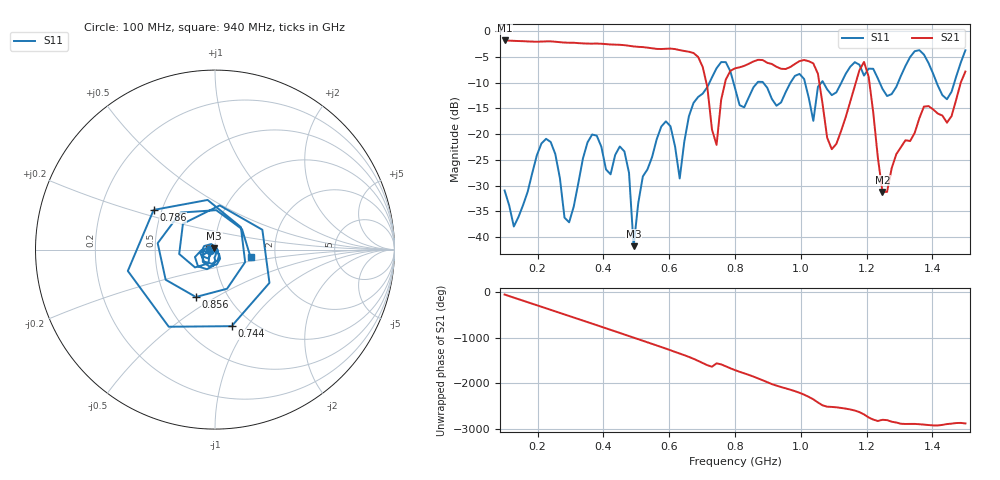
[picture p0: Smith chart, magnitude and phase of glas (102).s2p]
! NanoVNA-App
! Date: 2025-09-25 15:56:16
! Start: 100MHz Stop: 1,5GHz Points: 101
! S-Parameter data: F S11 S21 S12 S22
# Hz S RI R 50
!  Frequency  S11_Real  S11_Imag  S21_Real  S21_Imag  S12_Real  S12_Imag  S22_Real  S22_Imag
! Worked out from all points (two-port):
!   101 points, 100 MHz to 1.5 GHz, reference 50 ohm
!   highest |S21| = -1.80 dB at 100 MHz (marker M1); lowest = -31.3 dB at 1.248 GHz (marker M2)
!   |S21| within 3 dB of the highest: start of sweep to 684.2 MHz
!   lowest |S11| = -41.8 dB at 492 MHz (marker M3), VSWR 1.02, Z = 49.5 + j0.623 ohm
!   |S11| at or under -10 dB: start of sweep to 722.5 MHz; 795.4 MHz to 867.9 MHz (72.47 MHz wide, 8.71 % of centre); 885.7 MHz to 968.7 MHz (82.97 MHz wide, 8.95 % of centre) (the widest 3 of 7)
!   S12 and S22 are empty: the file has one direction only
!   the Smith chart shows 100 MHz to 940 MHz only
!   S11 on the Smith chart (normalised r, x): 100 MHz: 0.95, -0.01; 744 MHz: 0.81, -0.85; 786 MHz: 0.45, +0.24; 856 MHz: 0.71, -0.41; 940 MHz: 1.49, -0.13
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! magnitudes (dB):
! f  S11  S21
! 100 MHz  -31.0  -1.8
! 128 MHz  -38.0  -1.9
! 226 MHz  -20.9  -2.0
! 296 MHz  -37.1  -2.2
! 338 MHz  -24.7  -2.4
! 464 MHz  -23.4  -2.7
! 492 MHz  -41.8  -3.0
! 576 MHz  -18.5  -3.5
! 632 MHz  -28.6  -3.7
! 702 MHz  -12.1  -7.0
! 744 MHz  -7.2  -22.1
! 786 MHz  -7.8  -7.7
! 800 MHz  -11.1  -7.2
! 856 MHz  -10.9  -5.9
! 940 MHz  -13.8  -7.3
! 996 MHz  -8.3  -5.8
! 1.038 GHz  -17.4  -6.3
! 1.094 GHz  -12.4  -22.9
! 1.192 GHz  -8.6  -6.0
! 1.248 GHz  -11.2  -31.3
! 1.276 GHz  -12.2  -26.6
! 1.5 GHz  -3.7  -7.8
